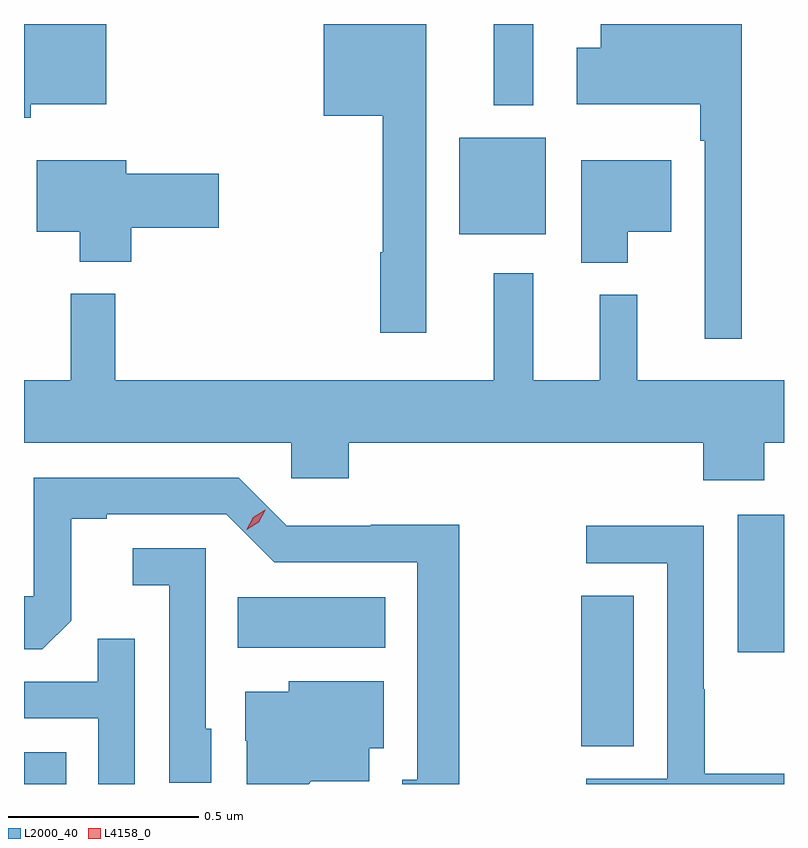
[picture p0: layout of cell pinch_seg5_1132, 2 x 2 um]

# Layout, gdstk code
import gdstk
lib = gdstk.Library(unit=1e-6, precision=1e-09)
def R(c, l, rs):  # rectangles x0, y0, x1, y1
    for r in rs: c.add(gdstk.rectangle(r[:2], r[2:], *l))
def P(c, l, *ps):  # polygons
    for p in ps: c.add(gdstk.Polygon(p, *l))
L2000_40 = (2000, 40)
L4158_0 = (4158, 0)

pinch_seg5_1132 = lib.new_cell('pinch_seg5_1132')
R(pinch_seg5_1132, L2000_40, [(795.479,871.846,795.59,871.929), (796.945,871.945,797.083,872.342), (797.357,872.193,797.479,872.554), (796.042,872.204,796.429,872.338), (796.625,873.293,796.852,873.547), (796.715,873.632,796.819,873.846)])
P(pinch_seg5_1132, L2000_40, [(796.537,873.846),(796.268,873.846),(796.268,873.605),(796.423,873.605),(796.423,873.245),(796.416,873.245),(796.416,873.033),(796.537,873.033)],
  [(795.497,873.635),(795.696,873.635),(795.696,873.846),(795.479,873.846),(795.479,873.599),(795.497,873.599)],
  [(797.368,873.846),(796.997,873.846),(796.997,873.783),(796.934,873.783),(796.934,873.635),(797.259,873.635),(797.259,873.539),(797.271,873.539),(797.271,873.018),(797.368,873.018)],
  [(795.761,873.31),(795.991,873.31),(795.991,873.452),(795.748,873.452),(795.748,873.487),(795.512,873.487),(795.512,873.299),(795.626,873.299),(795.626,873.221),(795.761,873.221)],
  [(797.068,873.299),(797.182,873.299),(797.182,873.487),(796.946,873.487),(796.946,873.218),(797.068,873.218)],
  [(797.427,872.744),(797.479,872.744),(797.479,872.908),(797.093,872.908),(797.093,873.133),(796.994,873.133),(796.994,872.908),(796.819,872.908),(796.819,873.19),(796.715,873.19),(796.715,872.908),(795.719,872.908),(795.719,873.136),(795.602,873.136),(795.602,872.908),(795.479,872.908),(795.479,872.744),(796.182,872.744),(796.182,872.651),(796.334,872.651),(796.334,872.744),(797.267,872.744),(797.267,872.645),(797.427,872.645)],
  [(796.625,872.528),(796.392,872.528),(796.392,872.526),(796.17,872.526),(796.044,872.652),(795.504,872.652),(795.504,872.34),(795.479,872.34),(795.479,872.2),(795.527,872.2),(795.603,872.276),(795.603,872.544),(795.697,872.544),(795.697,872.556),(796.011,872.556),(796.137,872.43),(796.514,872.43),(796.514,871.857),(796.475,871.857),(796.475,871.846),(796.625,871.846)],
  [(797.479,871.873),(797.271,871.873),(797.271,872.096),(797.268,872.096),(797.268,872.526),(796.959,872.526),(796.959,872.427),(797.172,872.427),(797.172,871.86),(796.959,871.86),(796.959,871.846),(797.479,871.846)],
  [(795.972,871.992),(795.957,871.992),(795.957,872.466),(795.765,872.466),(795.765,872.369),(795.861,872.369),(795.861,871.849),(795.972,871.849)],
  [(795.771,872.228),(795.673,872.228),(795.673,872.115),(795.479,872.115),(795.479,872.019),(795.675,872.019),(795.675,871.846),(795.771,871.846)],
  [(796.235,871.853),(796.387,871.853),(796.387,871.94),(796.426,871.94),(796.426,872.116),(796.176,872.116),(796.176,872.089),(796.061,872.089),(796.061,871.96),(796.065,871.96),(796.065,871.846),(796.228,871.846)])
P(pinch_seg5_1132, L4158_0, [(796.065,872.515),(796.065,872.516),(796.082,872.548),(796.114,872.568),(796.114,872.568),(796.114,872.567),(796.097,872.535),(796.065,872.515)])

lib.write_gds('pinch_seg5_1132.gds')
